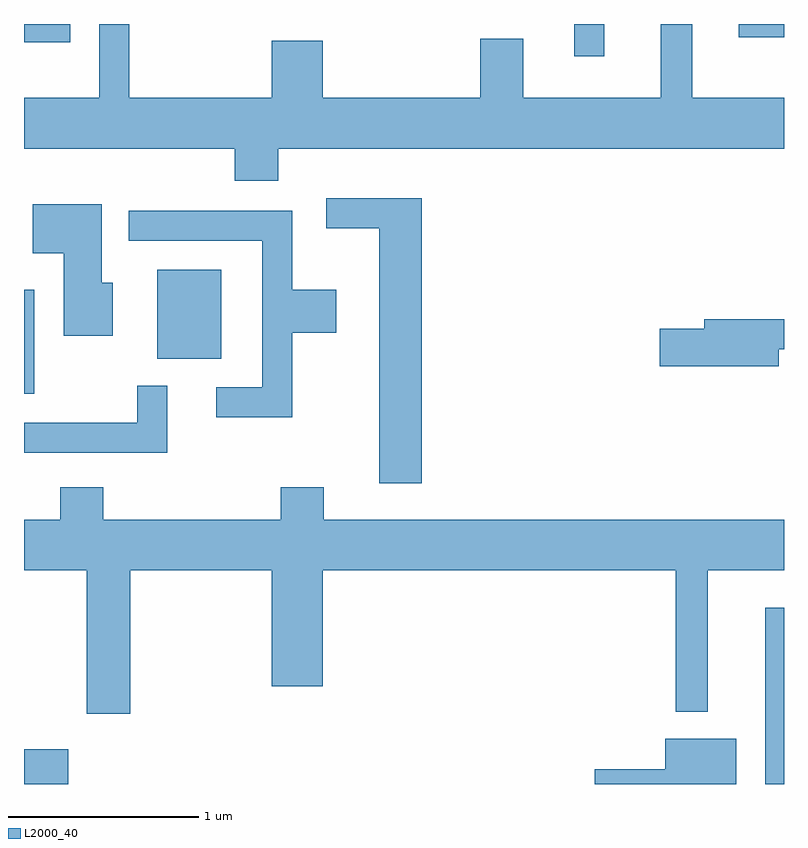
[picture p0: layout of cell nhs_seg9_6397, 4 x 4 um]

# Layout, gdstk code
import gdstk
lib = gdstk.Library(unit=1e-6, precision=1e-09)
def R(c, l, rs):  # rectangles x0, y0, x1, y1
    for r in rs: c.add(gdstk.rectangle(r[:2], r[2:], *l))
def P(c, l, *ps):  # polygons
    for p in ps: c.add(gdstk.Polygon(p, *l))
L2000_40 = (2000, 40)

nhs_seg9_6397 = lib.new_cell('nhs_seg9_6397')
R(nhs_seg9_6397, L2000_40, [(373.611,2028.432,373.844,2028.614), (377.511,2028.432,377.611,2029.359), (373.611,2030.486,373.664,2031.034), (374.311,2030.671,374.649,2031.139), (376.506,2032.263,376.664,2032.432), (373.611,2032.336,373.854,2032.432), (377.373,2032.361,377.611,2032.432)])
P(nhs_seg9_6397, L2000_40, [(374.916,2032.044),(374.164,2032.044),(374.164,2032.432),(374.006,2032.432),(374.006,2032.044),(373.611,2032.044),(373.611,2031.776),(374.721,2031.776),(374.721,2031.606),(374.949,2031.606),(374.949,2031.776),(377.611,2031.776),(377.611,2032.044),(377.129,2032.044),(377.129,2032.432),(376.961,2032.432),(376.961,2032.044),(376.239,2032.044),(376.239,2032.354),(376.011,2032.354),(376.011,2032.044),(375.184,2032.044),(375.184,2032.344),(374.916,2032.344)],
  [(375.704,2031.514),(375.203,2031.514),(375.203,2031.356),(375.481,2031.356),(375.481,2030.016),(375.704,2030.016)],
  [(374.079,2031.069),(374.019,2031.069),(374.019,2031.484),(373.656,2031.484),(373.656,2031.226),(373.821,2031.226),(373.821,2030.791),(374.079,2030.791)],
  [(375.024,2030.806),(375.254,2030.806),(375.254,2031.034),(375.024,2031.034),(375.024,2031.449),(374.163,2031.449),(374.163,2031.291),(374.866,2031.291),(374.866,2030.519),(374.623,2030.519),(374.623,2030.361),(375.024,2030.361)],
  [(377.584,2030.721),(377.611,2030.721),(377.611,2030.879),(377.191,2030.879),(377.191,2030.829),(376.956,2030.829),(376.956,2030.631),(377.584,2030.631)],
  [(374.364,2030.528),(374.206,2030.528),(374.206,2030.334),(373.611,2030.334),(373.611,2030.176),(374.364,2030.176)],
  [(374.169,2029.556),(374.916,2029.556),(374.916,2028.946),(375.184,2028.946),(375.184,2029.556),(377.041,2029.556),(377.041,2028.813),(377.209,2028.813),(377.209,2029.556),(377.611,2029.556),(377.611,2029.824),(375.189,2029.824),(375.189,2029.994),(374.961,2029.994),(374.961,2029.824),(374.029,2029.824),(374.029,2029.994),(373.801,2029.994),(373.801,2029.824),(373.611,2029.824),(373.611,2029.556),(373.941,2029.556),(373.941,2028.801),(374.169,2028.801)],
  [(377.359,2028.669),(376.986,2028.669),(376.986,2028.509),(376.616,2028.509),(376.616,2028.432),(377.359,2028.432)])

lib.write_gds('nhs_seg9_6397.gds')
